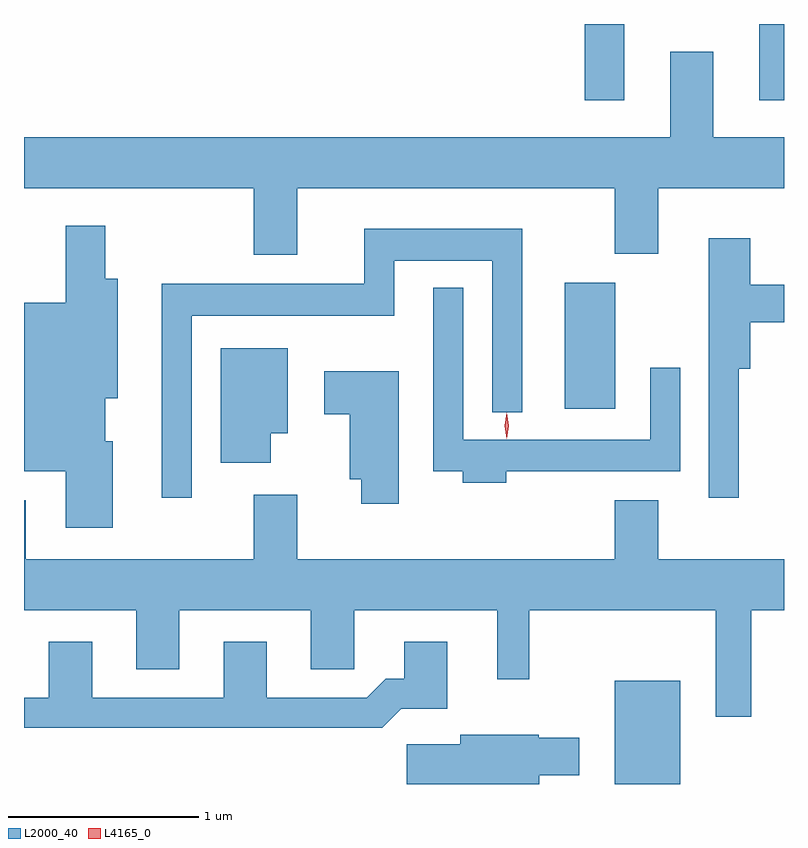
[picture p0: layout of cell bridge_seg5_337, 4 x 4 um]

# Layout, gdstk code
import gdstk
lib = gdstk.Library(unit=1e-6, precision=1e-09)
def R(c, l, rs):  # rectangles x0, y0, x1, y1
    for r in rs: c.add(gdstk.rectangle(r[:2], r[2:], *l))
def P(c, l, *ps):  # polygons
    for p in ps: c.add(gdstk.Polygon(p, *l))
L2000_40 = (2000, 40)
L4165_0 = (4165, 0)

bridge_seg5_337 = lib.new_cell('bridge_seg5_337')
R(bridge_seg5_337, L2000_40, [(763.121,1453.661,763.464,1454.204), (762.856,1455.636,763.124,1456.299), (762.961,1457.261,763.169,1457.661), (763.881,1457.261,764.011,1457.661)])
P(bridge_seg5_337, L2000_40, [(761.449,1456.796),(763.121,1456.796),(763.121,1456.451),(763.349,1456.451),(763.349,1456.796),(764.011,1456.796),(764.011,1457.064),(763.639,1457.064),(763.639,1457.514),(763.411,1457.514),(763.411,1457.064),(760.011,1457.064),(760.011,1456.796),(761.221,1456.796),(761.221,1456.446),(761.449,1456.446)],
  [(760.479,1455.464),(760.439,1455.464),(760.439,1455.691),(760.504,1455.691),(760.504,1456.319),(760.439,1456.319),(760.439,1456.599),(760.231,1456.599),(760.231,1456.194),(760.011,1456.194),(760.011,1455.306),(760.231,1455.306),(760.231,1455.011),(760.479,1455.011)],
  [(760.894,1456.126),(761.959,1456.126),(761.959,1456.416),(762.476,1456.416),(762.476,1455.618),(762.634,1455.618),(762.634,1456.584),(761.801,1456.584),(761.801,1456.294),(760.736,1456.294),(760.736,1455.168),(760.894,1455.168)],
  [(763.774,1455.846),(763.834,1455.846),(763.834,1456.091),(764.011,1456.091),(764.011,1456.289),(763.834,1456.289),(763.834,1456.534),(763.616,1456.534),(763.616,1455.168),(763.774,1455.168)],
  [(762.549,1455.306),(763.464,1455.306),(763.464,1455.853),(763.306,1455.853),(763.306,1455.474),(762.324,1455.474),(762.324,1456.273),(762.166,1456.273),(762.166,1455.306),(762.321,1455.306),(762.321,1455.246),(762.549,1455.246)],
  [(761.309,1455.506),(761.399,1455.506),(761.399,1455.954),(761.046,1455.954),(761.046,1455.351),(761.309,1455.351)],
  [(761.984,1455.834),(761.591,1455.834),(761.591,1455.606),(761.726,1455.606),(761.726,1455.266),(761.786,1455.266),(761.786,1455.136),(761.984,1455.136)],
  [(763.839,1454.576),(764.011,1454.576),(764.011,1454.844),(763.349,1454.844),(763.349,1455.154),(763.121,1455.154),(763.121,1454.844),(761.449,1454.844),(761.449,1455.184),(761.221,1455.184),(761.221,1454.844),(760.019,1454.844),(760.019,1455.154),(760.011,1455.154),(760.011,1454.576),(760.601,1454.576),(760.601,1454.266),(760.829,1454.266),(760.829,1454.576),(761.521,1454.576),(761.521,1454.266),(761.749,1454.266),(761.749,1454.576),(762.501,1454.576),(762.501,1454.213),(762.669,1454.213),(762.669,1454.576),(763.651,1454.576),(763.651,1454.016),(763.839,1454.016)],
  [(761.997,1454.056),(762.239,1454.056),(762.239,1454.409),(762.011,1454.409),(762.011,1454.214),(761.914,1454.214),(761.814,1454.114),(761.289,1454.114),(761.289,1454.409),(761.061,1454.409),(761.061,1454.114),(760.369,1454.114),(760.369,1454.409),(760.141,1454.409),(760.141,1454.114),(760.011,1454.114),(760.011,1453.956),(761.897,1453.956)],
  [(762.724,1453.706),(762.934,1453.706),(762.934,1453.904),(762.72,1453.904),(762.72,1453.919),(762.306,1453.919),(762.306,1453.869),(762.026,1453.869),(762.026,1453.661),(762.724,1453.661)])
P(bridge_seg5_337, L4165_0, [(762.552,1455.48),(762.552,1455.48),(762.542,1455.546),(762.552,1455.613),(762.552,1455.613),(762.553,1455.613),(762.562,1455.546),(762.553,1455.48)],
  [(762.552,1455.477),(762.552,1455.477),(762.542,1455.547),(762.552,1455.616),(762.552,1455.616),(762.553,1455.616),(762.562,1455.547),(762.553,1455.477)])

lib.write_gds('bridge_seg5_337.gds')
